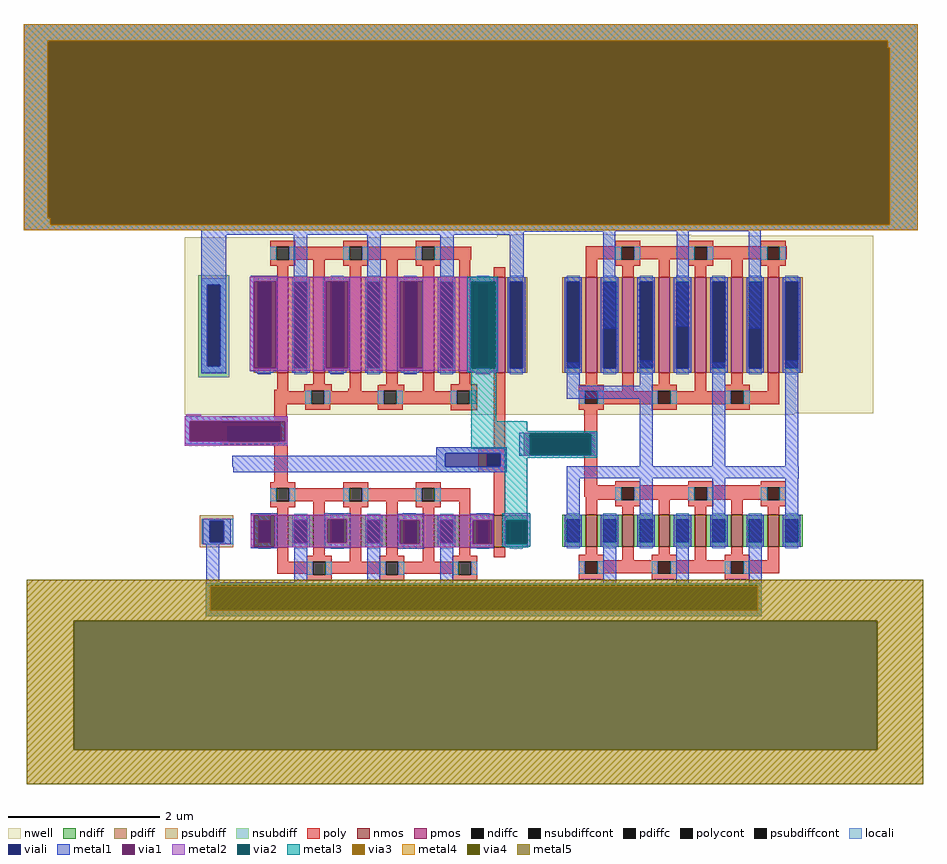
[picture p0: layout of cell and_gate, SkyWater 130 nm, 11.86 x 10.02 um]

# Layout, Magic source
magic
tech sky130A
magscale 1 2
<< nwell >>
rect 610 760 862 762
rect 564 758 1076 760
rect 564 754 1556 758
rect -260 290 1556 754
rect -260 286 1348 290
<< nmos >>
rect -16 -64 14 20
rect 80 -64 110 20
rect 176 -64 206 20
rect 272 -64 302 20
rect 368 -64 398 20
rect 464 -64 494 20
rect 556 -64 586 20
<< pmos >>
rect -16 396 14 648
rect 80 396 110 648
rect 176 396 206 648
rect 272 396 302 648
rect 368 396 398 648
rect 464 396 494 648
rect 556 396 586 648
<< ndiff >>
rect -78 8 -16 20
rect -78 -52 -66 8
rect -32 -52 -16 8
rect -78 -64 -16 -52
rect 14 8 80 20
rect 14 -52 30 8
rect 64 -52 80 8
rect 14 -64 80 -52
rect 110 8 176 20
rect 110 -52 126 8
rect 160 -52 176 8
rect 110 -64 176 -52
rect 206 8 272 20
rect 206 -52 222 8
rect 256 -52 272 8
rect 206 -64 272 -52
rect 302 8 368 20
rect 302 -52 318 8
rect 352 -52 368 8
rect 302 -64 368 -52
rect 398 8 464 20
rect 398 -52 414 8
rect 448 -52 464 8
rect 398 -64 464 -52
rect 494 8 556 20
rect 494 -52 510 8
rect 544 -52 556 8
rect 494 -64 556 -52
rect 586 8 644 20
rect 586 -52 598 8
rect 632 -52 644 8
rect 586 -64 644 -52
<< pdiff >>
rect -78 636 -16 648
rect -78 408 -66 636
rect -32 408 -16 636
rect -78 396 -16 408
rect 14 636 80 648
rect 14 408 30 636
rect 64 408 80 636
rect 14 396 80 408
rect 110 636 176 648
rect 110 408 126 636
rect 160 408 176 636
rect 110 396 176 408
rect 206 636 272 648
rect 206 408 222 636
rect 256 408 272 636
rect 206 396 272 408
rect 302 636 368 648
rect 302 408 318 636
rect 352 408 368 636
rect 302 396 368 408
rect 398 636 464 648
rect 398 408 414 636
rect 448 408 464 636
rect 398 396 464 408
rect 494 636 556 648
rect 494 408 510 636
rect 544 408 556 636
rect 494 396 556 408
rect 586 636 644 648
rect 586 408 598 636
rect 632 408 644 636
rect 586 396 644 408
<< ndiffc >>
rect -66 -52 -32 8
rect 30 -52 64 8
rect 126 -52 160 8
rect 222 -52 256 8
rect 318 -52 352 8
rect 414 -52 448 8
rect 510 -52 544 8
rect 598 -52 632 8
<< pdiffc >>
rect -66 408 -32 636
rect 30 408 64 636
rect 126 408 160 636
rect 222 408 256 636
rect 318 408 352 636
rect 414 408 448 636
rect 510 408 544 636
rect 598 408 632 636
<< psubdiff >>
rect -220 6 -132 20
rect -220 -50 -194 6
rect -156 -50 -132 6
rect -220 -64 -132 -50
<< nsubdiff >>
rect -224 628 -142 654
rect -224 414 -200 628
rect -166 414 -142 628
rect -224 384 -142 414
<< psubdiffcont >>
rect -194 -50 -156 6
<< nsubdiffcont >>
rect -200 414 -166 628
<< poly >>
rect -34 729 32 745
rect -34 695 -18 729
rect 16 728 32 729
rect 158 729 224 745
rect 158 728 174 729
rect 16 695 174 728
rect 208 728 224 729
rect 350 729 416 745
rect 350 728 366 729
rect 208 695 366 728
rect 400 728 416 729
rect 400 695 496 728
rect -34 694 496 695
rect 798 696 1328 730
rect -34 679 32 694
rect -16 648 14 679
rect 80 648 110 694
rect 158 679 224 694
rect 176 648 206 679
rect 272 648 302 694
rect 350 679 416 694
rect 368 648 398 679
rect 464 648 494 694
rect 556 648 586 674
rect 798 652 828 696
rect 990 656 1020 696
rect 1182 650 1212 696
rect -16 352 14 396
rect 80 366 110 396
rect -24 348 14 352
rect 56 349 128 366
rect 176 354 206 396
rect 272 365 302 396
rect 254 364 320 365
rect 56 348 74 349
rect -24 315 74 348
rect 108 348 128 349
rect 172 348 206 354
rect 250 349 320 364
rect 250 348 266 349
rect 108 315 266 348
rect 300 348 320 349
rect 368 348 398 396
rect 464 366 494 396
rect 442 349 512 366
rect 442 348 458 349
rect 300 315 458 348
rect 492 315 512 349
rect -24 314 512 315
rect -24 266 10 314
rect 58 299 124 314
rect 250 299 316 314
rect 442 298 512 314
rect -162 254 10 266
rect -162 216 -146 254
rect -6 218 10 254
rect -6 216 12 218
rect -162 206 12 216
rect -24 108 12 206
rect 556 200 586 396
rect 794 348 828 352
rect 894 348 924 390
rect 1086 348 1116 388
rect 1278 348 1308 388
rect 780 314 1308 348
rect 794 238 828 314
rect 634 226 828 238
rect 514 184 588 200
rect 514 150 538 184
rect 572 150 588 184
rect 634 188 650 226
rect 812 188 828 226
rect 634 178 828 188
rect 514 134 588 150
rect -34 92 32 108
rect 158 92 224 108
rect 350 92 416 108
rect -34 58 -18 92
rect 16 58 174 92
rect 208 58 366 92
rect 400 58 494 92
rect -34 42 32 58
rect -16 20 14 42
rect 80 20 110 58
rect 158 42 224 58
rect 176 20 206 42
rect 272 20 302 58
rect 350 42 416 58
rect 368 20 398 42
rect 464 20 494 58
rect 556 20 586 134
rect 794 100 828 178
rect 794 70 1326 100
rect 798 62 1326 70
rect 798 30 828 62
rect 990 40 1020 62
rect 1182 40 1212 62
rect -16 -102 14 -64
rect 80 -86 110 -64
rect 62 -102 128 -86
rect 176 -102 206 -64
rect 272 -86 302 -64
rect 254 -102 320 -86
rect 368 -102 398 -64
rect 464 -86 494 -64
rect 446 -102 512 -86
rect 556 -90 586 -64
rect 894 -98 924 -68
rect 1086 -98 1116 -68
rect 1278 -98 1308 -64
rect -16 -134 78 -102
rect 62 -136 78 -134
rect 112 -134 270 -102
rect 112 -136 128 -134
rect 62 -152 128 -136
rect 254 -136 270 -134
rect 304 -134 462 -102
rect 304 -136 320 -134
rect 254 -152 320 -136
rect 446 -136 462 -134
rect 496 -136 512 -102
rect 780 -132 1308 -98
rect 446 -152 512 -136
<< polycont >>
rect -18 695 16 729
rect 174 695 208 729
rect 366 695 400 729
rect 74 315 108 349
rect 266 315 300 349
rect 458 315 492 349
rect -146 216 -6 254
rect 538 150 572 184
rect 650 188 812 226
rect -18 58 16 92
rect 174 58 208 92
rect 366 58 400 92
rect 78 -136 112 -102
rect 270 -136 304 -102
rect 462 -136 496 -102
<< locali >>
rect -34 695 -18 729
rect 16 695 32 729
rect 158 695 174 729
rect 208 695 224 729
rect 350 695 366 729
rect 400 695 416 729
rect -216 628 -150 646
rect -216 414 -200 628
rect -166 414 -150 628
rect -216 394 -150 414
rect -66 636 -32 652
rect -66 392 -32 408
rect 30 636 64 652
rect 30 392 64 408
rect 126 636 160 652
rect 126 392 160 408
rect 222 636 256 652
rect 222 392 256 408
rect 318 636 352 652
rect 318 392 352 408
rect 414 636 448 652
rect 414 392 448 408
rect 510 636 544 652
rect 510 392 544 408
rect 598 636 632 652
rect 598 392 632 408
rect 58 315 74 349
rect 108 315 124 349
rect 250 315 266 349
rect 300 315 316 349
rect 442 315 458 349
rect 492 315 508 349
rect -260 268 12 282
rect -260 216 -246 268
rect -62 266 12 268
rect -8 254 12 266
rect -6 216 12 254
rect -260 208 12 216
rect -164 204 12 208
rect 634 226 828 238
rect 404 184 590 200
rect 404 148 428 184
rect 572 148 590 184
rect 634 188 650 226
rect 812 188 828 226
rect 634 178 828 188
rect 404 134 590 148
rect -34 58 -18 92
rect 16 58 32 92
rect 158 58 174 92
rect 208 58 224 92
rect 350 58 366 92
rect 400 58 416 92
rect -66 12 -32 24
rect -214 6 -132 12
rect -214 -50 -194 6
rect -156 -50 -132 6
rect -214 -56 -132 -50
rect -78 8 -32 12
rect -78 -52 -66 8
rect -78 -56 -32 -52
rect -66 -68 -32 -56
rect 30 8 64 24
rect 30 -68 64 -52
rect 126 8 160 24
rect 126 -68 160 -52
rect 222 8 256 24
rect 222 -68 256 -52
rect 318 8 352 24
rect 318 -68 352 -52
rect 414 8 448 24
rect 414 -68 448 -52
rect 510 8 544 24
rect 510 -68 544 -52
rect 598 8 632 24
rect 598 -68 632 -52
rect 62 -136 78 -102
rect 112 -136 128 -102
rect 254 -136 270 -102
rect 304 -136 320 -102
rect 446 -136 462 -102
rect 496 -136 512 -102
<< viali >>
rect -200 414 -166 628
rect -66 408 -32 636
rect 30 408 64 636
rect 126 408 160 636
rect 222 408 256 636
rect 318 408 352 636
rect 414 408 448 636
rect 510 408 544 636
rect 598 408 632 636
rect -246 266 -62 268
rect -246 254 -8 266
rect -246 216 -146 254
rect -146 216 -6 254
rect 428 150 538 184
rect 538 150 572 184
rect 428 148 572 150
rect 650 188 812 226
rect -194 -50 -156 6
rect -66 -52 -32 8
rect 30 -52 64 8
rect 126 -52 160 8
rect 222 -52 256 8
rect 318 -52 352 8
rect 414 -52 448 8
rect 510 -52 544 8
rect 598 -52 632 8
<< metal1 >>
rect -684 1272 1674 1316
rect -684 804 -620 1272
rect 1594 1254 1674 1272
rect -684 786 -614 804
rect 1600 786 1674 1254
rect -684 772 1674 786
rect -216 770 1260 772
rect -216 768 876 770
rect -216 760 634 768
rect -216 628 -150 760
rect -86 648 -16 652
rect 28 648 64 760
rect -216 414 -200 628
rect -166 414 -150 628
rect -216 396 -150 414
rect -88 638 -16 648
rect -88 408 -78 638
rect -18 408 -16 638
rect -88 404 -16 408
rect 24 636 70 648
rect 24 408 30 636
rect 64 408 70 636
rect -88 400 -18 404
rect -72 396 -26 400
rect 24 396 70 408
rect 106 638 176 650
rect 222 648 258 760
rect 414 648 450 760
rect 106 408 112 638
rect 172 408 176 638
rect 106 402 176 408
rect 216 636 262 648
rect 216 408 222 636
rect 256 408 262 636
rect 120 396 166 402
rect 216 396 262 408
rect 300 638 370 648
rect 300 408 308 638
rect 368 408 370 638
rect 300 400 370 408
rect 408 636 454 648
rect 408 408 414 636
rect 448 408 454 636
rect 312 396 358 400
rect 408 396 454 408
rect 494 636 564 650
rect 598 648 634 760
rect 494 410 500 636
rect 556 410 564 636
rect 494 408 510 410
rect 544 408 564 410
rect 494 402 564 408
rect 592 636 638 648
rect 592 408 598 636
rect 632 408 638 636
rect 844 514 876 768
rect 1038 518 1070 770
rect 1228 514 1260 770
rect 504 396 550 402
rect 592 396 638 408
rect -68 394 -34 396
rect 124 394 158 396
rect 318 394 352 396
rect 510 394 544 396
rect 748 362 782 424
rect 940 362 974 428
rect 748 328 974 362
rect -260 268 12 282
rect -260 216 -246 268
rect 6 216 12 268
rect -260 214 -146 216
rect -6 214 12 216
rect -260 208 12 214
rect 622 236 828 238
rect 404 184 590 200
rect 404 178 428 184
rect -134 148 428 178
rect 572 148 590 184
rect 622 184 650 236
rect 812 184 828 236
rect 622 178 828 184
rect 940 150 974 328
rect 1132 150 1166 424
rect 1324 150 1358 430
rect -132 134 590 148
rect 748 118 1360 150
rect -86 20 -16 26
rect -212 6 -138 12
rect -212 -50 -194 6
rect -156 -50 -138 6
rect -212 -56 -138 -50
rect -203 -156 -169 -56
rect -86 -64 -78 20
rect -22 -64 -16 20
rect 24 8 70 20
rect 24 -52 30 8
rect 64 -52 70 8
rect 24 -64 70 -52
rect 108 10 178 26
rect 316 24 350 26
rect 510 24 544 26
rect 108 -52 116 10
rect 168 -52 178 10
rect -86 -66 -16 -64
rect 30 -156 64 -64
rect 108 -66 178 -52
rect 216 8 262 20
rect 216 -52 222 8
rect 256 -52 262 8
rect 216 -64 262 -52
rect 302 8 372 24
rect 302 -54 308 8
rect 360 -54 372 8
rect -203 -158 64 -156
rect 222 -158 256 -64
rect 302 -68 372 -54
rect 408 8 454 20
rect 408 -52 414 8
rect 448 -52 454 8
rect 408 -64 454 -52
rect 494 8 556 24
rect 592 18 642 20
rect 494 -54 500 8
rect 552 -54 556 8
rect 414 -158 448 -64
rect 494 -66 556 -54
rect 584 8 644 18
rect 584 -54 588 8
rect 642 -54 644 8
rect 748 -50 782 118
rect 584 -62 644 -54
rect 592 -64 638 -62
rect 844 -158 878 10
rect 940 -50 974 118
rect 1036 -158 1070 10
rect 1132 -50 1166 118
rect 1228 -158 1262 10
rect 1324 -50 1358 118
rect -204 -166 1262 -158
rect -204 -230 -192 -166
rect 1252 -230 1262 -166
rect -204 -246 1262 -230
<< via1 >>
rect -620 1254 1594 1272
rect -620 804 1600 1254
rect -614 786 1600 804
rect -78 636 -18 638
rect -78 408 -66 636
rect -66 408 -32 636
rect -32 408 -18 636
rect 112 636 172 638
rect 112 408 126 636
rect 126 408 160 636
rect 160 408 172 636
rect 308 636 368 638
rect 308 408 318 636
rect 318 408 352 636
rect 352 408 368 636
rect 500 410 510 636
rect 510 410 544 636
rect 544 410 556 636
rect -246 266 -62 268
rect -62 266 6 268
rect -246 254 -8 266
rect -8 254 6 266
rect -246 216 -6 254
rect -6 216 6 254
rect -146 214 -6 216
rect 650 226 812 236
rect 650 188 812 226
rect 650 184 812 188
rect -78 8 -22 20
rect -78 -52 -66 8
rect -66 -52 -32 8
rect -32 -52 -22 8
rect -78 -64 -22 -52
rect 116 8 168 10
rect 116 -52 126 8
rect 126 -52 160 8
rect 160 -52 168 8
rect 308 -52 318 8
rect 318 -52 352 8
rect 352 -52 360 8
rect 308 -54 360 -52
rect 500 -52 510 8
rect 510 -52 544 8
rect 544 -52 552 8
rect 500 -54 552 -52
rect 588 -52 598 8
rect 598 -52 632 8
rect 632 -52 642 8
rect 588 -54 642 -52
rect -192 -230 1252 -166
<< metal2 >>
rect -684 1272 1674 1316
rect -684 804 -620 1272
rect 1594 1254 1674 1272
rect -684 786 -614 804
rect 1600 786 1674 1254
rect -684 772 1674 786
rect -88 638 566 650
rect -88 408 -78 638
rect -18 408 112 638
rect 172 408 308 638
rect 368 636 566 638
rect 368 408 496 636
rect 560 408 566 636
rect -88 402 566 408
rect 486 398 566 402
rect 508 392 546 398
rect -256 282 -216 286
rect -260 280 -162 282
rect -122 280 12 282
rect -260 268 12 280
rect -260 216 -246 268
rect 6 216 12 268
rect -260 214 -146 216
rect -6 214 12 216
rect -260 204 12 214
rect 634 236 828 238
rect 634 180 650 236
rect 812 180 828 236
rect 634 178 828 180
rect -86 20 554 22
rect -86 -64 -78 20
rect -22 10 554 20
rect -22 -52 116 10
rect 168 8 554 10
rect 168 -52 308 8
rect -22 -54 308 -52
rect 360 -54 500 8
rect 552 -54 554 8
rect -22 -64 554 -54
rect 584 8 646 26
rect 584 -54 588 8
rect 644 -54 646 8
rect 584 -64 646 -54
rect -204 -164 1262 -158
rect -204 -230 -192 -164
rect 1252 -230 1262 -164
rect -204 -246 1262 -230
<< via2 >>
rect -620 1254 1594 1272
rect -620 804 1600 1254
rect -614 786 1600 804
rect 496 410 500 636
rect 500 410 556 636
rect 556 410 560 636
rect 496 408 560 410
rect 650 184 812 236
rect 650 180 812 184
rect 588 -54 642 8
rect 642 -54 644 8
rect -192 -166 1252 -164
rect -192 -230 1252 -166
<< metal3 >>
rect -684 1272 1674 1316
rect -684 804 -620 1272
rect 1594 1254 1674 1272
rect -684 786 -614 804
rect 1600 786 1674 1254
rect -684 772 1674 786
rect 486 636 566 650
rect 486 408 496 636
rect 560 408 566 636
rect 486 398 566 408
rect 496 268 562 398
rect 496 242 644 268
rect 496 236 828 242
rect 496 196 650 236
rect 584 180 650 196
rect 812 180 828 236
rect 584 172 828 180
rect 584 26 644 172
rect 578 8 652 26
rect 578 -54 588 8
rect 644 -54 652 8
rect 578 -62 652 -54
rect 584 -64 646 -62
rect -204 -164 1262 -158
rect -204 -230 -192 -164
rect 1252 -230 1262 -164
rect -204 -246 1262 -230
<< via3 >>
rect -620 1254 1594 1272
rect -620 804 1600 1254
rect -614 786 1600 804
rect -192 -230 1252 -166
<< metal4 >>
rect -684 1272 1674 1316
rect -684 804 -620 1272
rect 1594 1254 1674 1272
rect -684 786 -614 804
rect 1600 786 1674 1254
rect -684 772 1674 786
rect -676 -166 1688 -150
rect -676 -230 -192 -166
rect 1252 -230 1688 -166
rect -676 -258 1688 -230
rect -676 -598 -552 -258
rect 1566 -598 1688 -258
rect -676 -688 1688 -598
<< via4 >>
rect -552 -598 1566 -258
<< metal5 >>
rect -676 -258 1688 -150
rect -676 -598 -552 -258
rect 1566 -598 1688 -258
rect -676 -688 1688 -598
use sky130_fd_pr__nfet_01v8_XJUN3E  sky130_fd_pr__nfet_01v8_XJUN3E_0
transform 1 0 1053 0 1 -20
box -317 -130 317 130
use sky130_fd_pr__pfet_01v8_X4L24Q  sky130_fd_pr__pfet_01v8_X4L24Q_0
transform 1 0 1053 0 1 522
box -353 -226 353 226
<< end >>

# cell sky130_fd_pr__nfet_01v8_XJUN3E: kit device sky130_fd_pr__nfet_01v8, w 0.420 l 0.150 m 1 nf 6 diffcov 100 polycov 100 guard 0 glc 1 grc 1 gtc 1 gbc 1 tbcov 100 rlcov 100 topc 0 botc 0 poverlap 0 doverlap 1 lmin 0.15 wmin 0.42 compatible {sky130_fd_pr__nfet_01v8 sky130_fd_pr__nfet_01v8_lvt sky130_fd_bs_flash__special_sonosfet_star sky130_fd_pr__nfet_g5v0d10v5 sky130_fd_pr__nfet_05v0_nvt sky130_fd_pr__nfet_03v3_nvt} full_metal 0 viasrc 100 viadrn 100 viagate 00 viagb 0 viagr 0 viagl 0 viagt 0

# cell sky130_fd_pr__pfet_01v8_X4L24Q: kit device sky130_fd_pr__pfet_01v8, w 1.26 l 0.15 m 1 nf 6 diffcov 100 polycov 100 guard 0 glc 1 grc 1 gtc 1 gbc 1 tbcov 100 rlcov 100 topc 0 botc 0 poverlap 0 doverlap 1 lmin 0.15 wmin 0.42 compatible {sky130_fd_pr__pfet_01v8 sky130_fd_pr__pfet_01v8_lvt sky130_fd_pr__pfet_01v8_hvt sky130_fd_pr__pfet_g5v0d10v5} full_metal 0 viasrc 100 viadrn 100 viagate 0 viagb 0 viagr 0 viagl 0 viagt 0
